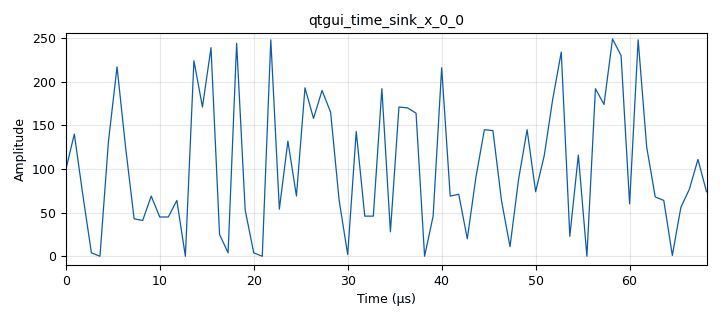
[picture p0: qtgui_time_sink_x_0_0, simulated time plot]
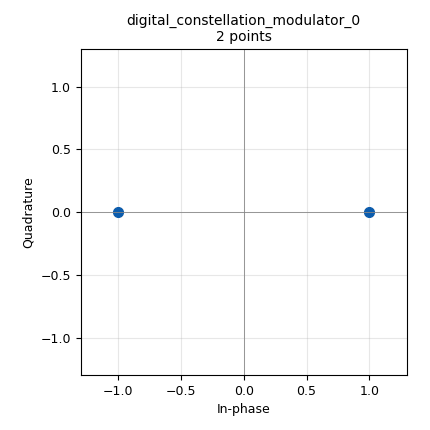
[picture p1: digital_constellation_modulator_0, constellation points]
options:
  parameters:
    generate_options: qt_gui
    id: aaa
    output_language: python
    title: workshop 4.3b
  states: {}

blocks:
- name: bps
  id: variable
  parameters:
    value: '1'
  states: {}
- name: cons_obj
  id: variable_constellation
  parameters:
    precision: '8'
    type: bpsk
  states: {}
- name: excess_bw
  id: variable
  parameters:
    value: '0.35'
  states: {}
- name: freq
  id: variable
  parameters:
    value: 914.5 * 1000000
  states: {}
- name: header_format
  id: variable
  parameters:
    value: digital.header_format_default(preamble, threshold, bps)
  states: {}
- name: loop_bw
  id: variable_qtgui_range
  parameters:
    start: '0'
    step: '0.001'
    stop: '1'
    value: '0.35'
  states: {state: disabled}
- name: preamble
  id: variable
  parameters:
    value: digital.packet_utils.default_access_code
  states: {}
- name: samp_rate
  id: variable
  parameters:
    value: 1100*1000
  states: {}
- name: sps
  id: variable
  parameters:
    value: '8'
  states: {}
- name: symb_rate
  id: variable
  parameters:
    value: 275*1000
  states: {}
- name: threshold
  id: variable
  parameters:
    value: '3'
  states: {}
- name: tx_gain
  id: variable
  parameters:
    value: '30'
  states: {}
- name: analog_const_source_x_0
  id: analog_const_source_x
  parameters:
    const: preamble
    type: byte
  states: {}
- name: analog_feedforward_agc_cc_1
  id: analog_feedforward_agc_cc
  parameters:
    num_samples: '64'
    reference: '1.5'
  states: {state: disabled}
- name: analog_random_source_x_0
  id: analog_random_source_x
  parameters:
    max: '256'
    min: '0'
    num_samps: '1000'
    repeat: 'True'
    type: byte
  states: {}
- name: blocks_multiply_const_vxx_0
  id: blocks_multiply_const_vxx
  parameters:
    const: '0.25'
    type: complex
  states: {}
- name: blocks_repack_bits_bb_0
  id: blocks_repack_bits_bb
  parameters:
    align_output: 'True'
    endianness: gr.GR_MSB_FIRST
    k: cons_obj.bits_per_symbol()
    l: '8'
  states: {state: disabled}
- name: blocks_repack_bits_bb_0_0
  id: blocks_repack_bits_bb
  parameters:
    align_output: 'True'
    endianness: gr.GR_MSB_FIRST
    k: cons_obj.bits_per_symbol()
    l: '8'
  states: {}
- name: blocks_stream_to_tagged_stream_0
  id: blocks_stream_to_tagged_stream
  parameters:
    len_tag_key: '"packet_len"'
    packet_len: '64'
    type: byte
  states: {}
- name: blocks_tagged_stream_mux_0
  id: blocks_tagged_stream_mux
  parameters:
    lengthtagname: packet_len
    ninputs: '2'
    type: byte
  states: {}
- name: blocks_uchar_to_float_1
  id: blocks_uchar_to_float
  parameters: {}
  states: {state: disabled}
- name: blocks_uchar_to_float_1_0
  id: blocks_uchar_to_float
  parameters: {}
  states: {}
- name: digital_constellation_decoder_cb_1
  id: digital_constellation_decoder_cb
  parameters:
    constellation: cons_obj
  states: {state: disabled}
- name: digital_constellation_modulator_0
  id: digital_constellation_modulator
  parameters:
    constellation: cons_obj
    differential: 'True'
    excess_bw: excess_bw
    samples_per_symbol: sps
  states: {}
- name: digital_correlate_access_code_xx_ts_0
  id: digital_correlate_access_code_xx_ts
  parameters:
    access_code: preamble
    threshold: threshold
    type: byte
  states: {state: disabled}
- name: digital_costas_loop_cc_0
  id: digital_costas_loop_cc
  parameters:
    order: '2'
    w: loop_bw
  states: {state: disabled}
- name: digital_diff_decoder_bb_1
  id: digital_diff_decoder_bb
  parameters:
    coding: digital.DIFF_DIFFERENTIAL
    modulus: '2'
  states: {state: disabled}
- name: digital_protocol_formatter_bb_0
  id: digital_protocol_formatter_bb
  parameters:
    format: header_format
    len_tag_key: '"packet_len"'
  states: {}
- name: digital_symbol_sync_xx_0
  id: digital_symbol_sync_xx
  parameters:
    damping: '1.0'
    loop_bw: '0.045'
    max_dev: '1.5'
    osps: '1'
    resamp_type: digital.IR_MMSE_8TAP
    sps: sps
    ted_gain: '1.0'
    ted_type: digital.TED_EARLY_LATE
    type: cc
  states: {state: disabled}
- name: qtgui_const_sink_x_1
  id: qtgui_const_sink_x
  parameters:
    size: '1000'
    type: complex
  states: {state: disabled}
- name: qtgui_time_sink_x_0
  id: qtgui_time_sink_x
  parameters:
    size: '64'
    srate: samp_rate
    tr_tag: '"packet_len"'
    type: float
    ymax: '256'
    ymin: '-2'
  states: {state: disabled}
- name: qtgui_time_sink_x_0_0
  id: qtgui_time_sink_x
  parameters:
    size: '76'
    srate: samp_rate
    tr_tag: '"packet_len"'
    type: float
    ymax: '256'
    ymin: '0'
  states: {}
- name: root_raised_cosine_filter_0
  id: root_raised_cosine_filter
  parameters:
    alpha: '0.35'
    decim: '1'
    gain: '1'
    ntaps: 11*sps
    samp_rate: sps
    sym_rate: '1.0'
    type: fir_filter_ccf
  states: {state: disabled}
- name: soapy_bladerf_sink_0
  id: soapy_bladerf_sink
  parameters:
    center_freq: freq
    dev_args: serial = 38306da1e3964066ad646c0a2b56e27a
    samp_rate: samp_rate
    type: fc32
  states: {}
- name: soapy_bladerf_source_0
  id: soapy_bladerf_source
  parameters:
    center_freq: freq
    dev_args: serial = 38306da1e3964066ad646c0a2b56e27a
    samp_rate: samp_rate
    type: fc32
  states: {state: disabled}
- name: virtual_sink_1
  id: virtual_sink
  parameters:
    stream_id: rx_
  states: {state: disabled}
- name: virtual_source_0
  id: virtual_source
  parameters:
    stream_id: rx_
  states: {state: disabled}

connections:
- [analog_feedforward_agc_cc_1, '0', root_raised_cosine_filter_0, '0']
- [analog_random_source_x_0, '0', blocks_stream_to_tagged_stream_0, '0']
- [blocks_multiply_const_vxx_0, '0', soapy_bladerf_sink_0, '0']
- [blocks_repack_bits_bb_0, '0', blocks_uchar_to_float_1, '0']
- [blocks_repack_bits_bb_0_0, '0', blocks_uchar_to_float_1_0, '0']
- [blocks_stream_to_tagged_stream_0, '0', blocks_tagged_stream_mux_0, '1']
- [blocks_stream_to_tagged_stream_0, '0', digital_protocol_formatter_bb_0, '0']
- [blocks_tagged_stream_mux_0, '0', blocks_repack_bits_bb_0_0, '0']
- [blocks_tagged_stream_mux_0, '0', digital_constellation_modulator_0, '0']
- [blocks_uchar_to_float_1, '0', qtgui_time_sink_x_0, '0']
- [blocks_uchar_to_float_1_0, '0', qtgui_time_sink_x_0_0, '0']
- [digital_constellation_decoder_cb_1, '0', digital_diff_decoder_bb_1, '0']
- [digital_constellation_modulator_0, '0', blocks_multiply_const_vxx_0, '0']
- [digital_correlate_access_code_xx_ts_0, '0', blocks_repack_bits_bb_0, '0']
- [digital_costas_loop_cc_0, '0', qtgui_const_sink_x_1, '0']
- [digital_costas_loop_cc_0, '0', virtual_sink_1, '0']
- [digital_diff_decoder_bb_1, '0', digital_correlate_access_code_xx_ts_0, '0']
- [digital_protocol_formatter_bb_0, '0', blocks_tagged_stream_mux_0, '0']
- [digital_symbol_sync_xx_0, '0', digital_costas_loop_cc_0, '0']
- [root_raised_cosine_filter_0, '0', digital_symbol_sync_xx_0, '0']
- [soapy_bladerf_source_0, '0', analog_feedforward_agc_cc_1, '0']
- [virtual_source_0, '0', digital_constellation_decoder_cb_1, '0']

metadata:
  file_format: 1
